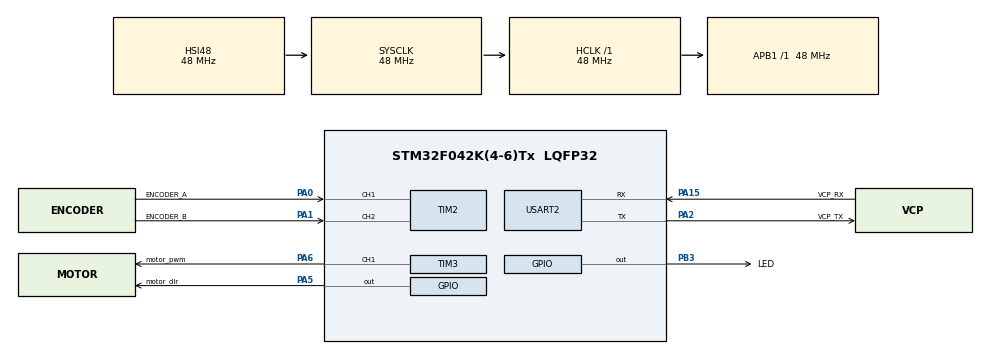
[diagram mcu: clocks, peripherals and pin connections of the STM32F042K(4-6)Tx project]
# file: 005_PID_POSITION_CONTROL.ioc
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Mcu.Family=STM32F0
Mcu.Name=STM32F042K(4-6)Tx
Mcu.Package=LQFP32
NVIC.TIM14_IRQn=true\:0\:0\:false\:false\:true\:true\:true\:true
NVIC.TIM2_IRQn=true\:0\:0\:false\:false\:true\:true\:true\:true
PA0.GPIO_Label=ENCODER_A
PA0.Signal=S_TIM2_CH1_ETR
PA1.GPIO_Label=ENCODER_B
PA1.Signal=S_TIM2_CH2
PA13.GPIO_Label=SWDIO
PA13.Mode=Serial_Wire
PA13.Signal=SYS_SWDIO
PA14.GPIO_Label=SWCLK
PA14.Mode=Serial_Wire
PA14.Signal=SYS_SWCLK
PA15.GPIO_Label=VCP_RX
PA15.Mode=Asynchronous
PA15.Signal=USART2_RX
PA2.GPIO_Label=VCP_TX
PA2.Mode=Asynchronous
PA2.Signal=USART2_TX
PA5.GPIO_Label=motor_dir
PA5.Signal=GPIO_Output
PA6.GPIO_Label=motor_pwm
PA6.Signal=S_TIM3_CH1
PB3.GPIO_Label=LED
PB3.Signal=GPIO_Output
ProjectManager.HeapSize=0x200
ProjectManager.StackSize=0x400
ProjectManager.TargetToolchain=STM32CubeIDE
RCC.AHBFreq_Value=48000000
RCC.APB1Freq_Value=48000000
RCC.APB1TimFreq_Value=48000000
RCC.HCLKFreq_Value=48000000
RCC.SYSCLKFreq_VALUE=48000000
RCC.SYSCLKSource=RCC_SYSCLKSOURCE_HSI48
SH.S_TIM2_CH1_ETR.0=TIM2_CH1,Encoder_Interface
SH.S_TIM2_CH2.0=TIM2_CH2,Encoder_Interface
SH.S_TIM3_CH1.0=TIM3_CH1,PWM Generation1 CH1
TIM14.Period=50-1
TIM14.Prescaler=4800-1
TIM3.Channel-PWM\ Generation1\ CH1=TIM_CHANNEL_1
TIM3.OCFastMode_PWM-PWM\ Generation1\ CH1=TIM_OCFAST_ENABLE
TIM3.Period=4800-1
TIM3.Prescaler=0
TIM3.Pulse-PWM\ Generation1\ CH1=2400-1
USART2.VirtualMode-Asynchronous=VM_ASYNC
VP_TIM14_VS_ClockSourceINT.Mode=Enable_Timer
board=NUCLEO-F042K6

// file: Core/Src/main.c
/* USER CODE BEGIN Header */
/**
  ******************************************************************************
  * @file           : main.c
  * @brief          : Main program body
  ******************************************************************************
  * @attention
  *
  * Copyright (c) 2023 STMicroelectronics.
  * All rights reserved.
  *
  * This software is licensed under terms that can be found in the LICENSE file
  * in the root directory of this software component.
  * If no LICENSE file comes with this software, it is provided AS-IS.
  *
  ******************************************************************************
  */
/* USER CODE END Header */
#include "main.h"

/* USER CODE BEGIN Includes */
#include "math.h"
#include "stdbool.h"

/* USER CODE END Includes */

TIM_HandleTypeDef htim2;
TIM_HandleTypeDef htim3;
TIM_HandleTypeDef htim14;

UART_HandleTypeDef huart2;

/* USER CODE BEGIN PV */
int64_t encoder_count = 0;
int64_t encoder_overflow_count = -(int64_t)UINT32_MAX;

typedef struct{
	double setpoint;
	double dt;
	double err_integral;					// used for integral portion of controller
	double prev_err;
	double Kp;
	double Ki;
	double Kd;
	double control_effort; 			// goes from -1 to 1
	double max_control_effort; 	// equals pwm counter period
	double max_integral_control_effort;
} PID;

PID pid;

/* USER CODE END PV */

void SystemClock_Config(void);
static void MX_GPIO_Init(void);
static void MX_USART2_UART_Init(void);
static void MX_TIM3_Init(void);
static void MX_TIM2_Init(void);
static void MX_TIM14_Init(void);

int main(void)
{

  /* MCU Configuration--------------------------------------------------------*/

  /* Reset of all peripherals, Initializes the Flash interface and the Systick. */
  HAL_Init();

  /* Configure the system clock */
  SystemClock_Config();

  /* Initialize all configured peripherals */
  MX_GPIO_Init();
  MX_USART2_UART_Init();
  MX_TIM3_Init();
  MX_TIM2_Init();
  MX_TIM14_Init();
  /* USER CODE BEGIN 2 */

  // get the timer interrupt frequency for future calculations
  double timer_clk_freq = (double)HAL_RCC_GetPCLK1Freq();
  double prescaler_div = (double)htim14.Init.Prescaler + 1;
  double period_div = (double)htim14.Init.Period +1;
  double pid_interrupt_freq = timer_clk_freq / prescaler_div / period_div; // Hz

  // set pid values
  pid.setpoint = 500;
  pid.err_integral = 0;
  pid.prev_err = 0;
  pid.control_effort = 0;
  pid.Kp = 4.0;
  pid.Ki = 0.5;
  pid.Kd = 0.2;
  pid.max_control_effort = (double)htim3.Init.Period-100;
  pid.max_integral_control_effort = pid.max_control_effort * 0.5;	// limit the integral control effort to 0.5 max control effort
  pid.dt = 1 / pid_interrupt_freq;

  // start timer 2 (Encoders)
  HAL_TIM_Encoder_Start(&htim2, TIM_CHANNEL_ALL);
  HAL_TIM_Base_Start_IT(&htim2);

  //start timer 3 (PWM)
  HAL_TIM_Base_Start(&htim3);
  HAL_TIM_PWM_Start(&htim3, TIM_CHANNEL_1);

  // start timer 14 (PID)
  HAL_TIM_Base_Start_IT(&htim14);
  HAL_NVIC_SetPriority(TIM14_IRQn,1,1);
  HAL_NVIC_EnableIRQ(TIM14_IRQn);

  /* USER CODE END 2 */

  /* Infinite loop */
  /* USER CODE BEGIN WHILE */
  while (1)
  {
	  pid.setpoint *= -1;
	  HAL_Delay(5000);
    /* USER CODE END WHILE */

  }
}

void SystemClock_Config(void)
{
  RCC_OscInitTypeDef RCC_OscInitStruct = {0};
  RCC_ClkInitTypeDef RCC_ClkInitStruct = {0};

  /** Initializes the RCC Oscillators according to the specified parameters
  * in the RCC_OscInitTypeDef structure.
  */
  RCC_OscInitStruct.OscillatorType = RCC_OSCILLATORTYPE_HSI48;
  RCC_OscInitStruct.HSI48State = RCC_HSI48_ON;
  RCC_OscInitStruct.PLL.PLLState = RCC_PLL_NONE;
  if (HAL_RCC_OscConfig(&RCC_OscInitStruct) != HAL_OK)
  {
    Error_Handler();
  }

  /** Initializes the CPU, AHB and APB buses clocks
  */
  RCC_ClkInitStruct.ClockType = RCC_CLOCKTYPE_HCLK|RCC_CLOCKTYPE_SYSCLK
                              |RCC_CLOCKTYPE_PCLK1;
  RCC_ClkInitStruct.SYSCLKSource = RCC_SYSCLKSOURCE_HSI48;
  RCC_ClkInitStruct.AHBCLKDivider = RCC_SYSCLK_DIV1;
  RCC_ClkInitStruct.APB1CLKDivider = RCC_HCLK_DIV1;

  if (HAL_RCC_ClockConfig(&RCC_ClkInitStruct, FLASH_LATENCY_1) != HAL_OK)
  {
    Error_Handler();
  }
}

static void MX_TIM2_Init(void)
{

  TIM_Encoder_InitTypeDef sConfig = {0};
  TIM_MasterConfigTypeDef sMasterConfig = {0};

  htim2.Instance = TIM2;
  htim2.Init.Prescaler = 0;
  htim2.Init.CounterMode = TIM_COUNTERMODE_UP;
  htim2.Init.Period = 4294967295;
  htim2.Init.ClockDivision = TIM_CLOCKDIVISION_DIV1;
  htim2.Init.AutoReloadPreload = TIM_AUTORELOAD_PRELOAD_DISABLE;
  sConfig.EncoderMode = TIM_ENCODERMODE_TI1;
  sConfig.IC1Polarity = TIM_ICPOLARITY_RISING;
  sConfig.IC1Selection = TIM_ICSELECTION_DIRECTTI;
  sConfig.IC1Prescaler = TIM_ICPSC_DIV1;
  sConfig.IC1Filter = 0;
  sConfig.IC2Polarity = TIM_ICPOLARITY_RISING;
  sConfig.IC2Selection = TIM_ICSELECTION_DIRECTTI;
  sConfig.IC2Prescaler = TIM_ICPSC_DIV1;
  sConfig.IC2Filter = 0;
  if (HAL_TIM_Encoder_Init(&htim2, &sConfig) != HAL_OK)
  {
    Error_Handler();
  }
  sMasterConfig.MasterOutputTrigger = TIM_TRGO_RESET;
  sMasterConfig.MasterSlaveMode = TIM_MASTERSLAVEMODE_DISABLE;
  if (HAL_TIMEx_MasterConfigSynchronization(&htim2, &sMasterConfig) != HAL_OK)
  {
    Error_Handler();
  }

}

static void MX_TIM3_Init(void)
{

  TIM_MasterConfigTypeDef sMasterConfig = {0};
  TIM_OC_InitTypeDef sConfigOC = {0};

  htim3.Instance = TIM3;
  htim3.Init.Prescaler = 0;
  htim3.Init.CounterMode = TIM_COUNTERMODE_UP;
  htim3.Init.Period = 4800-1;
  htim3.Init.ClockDivision = TIM_CLOCKDIVISION_DIV1;
  htim3.Init.AutoReloadPreload = TIM_AUTORELOAD_PRELOAD_DISABLE;
  if (HAL_TIM_PWM_Init(&htim3) != HAL_OK)
  {
    Error_Handler();
  }
  sMasterConfig.MasterOutputTrigger = TIM_TRGO_RESET;
  sMasterConfig.MasterSlaveMode = TIM_MASTERSLAVEMODE_DISABLE;
  if (HAL_TIMEx_MasterConfigSynchronization(&htim3, &sMasterConfig) != HAL_OK)
  {
    Error_Handler();
  }
  sConfigOC.OCMode = TIM_OCMODE_PWM1;
  sConfigOC.Pulse = 2400-1;
  sConfigOC.OCPolarity = TIM_OCPOLARITY_HIGH;
  sConfigOC.OCFastMode = TIM_OCFAST_ENABLE;
  if (HAL_TIM_PWM_ConfigChannel(&htim3, &sConfigOC, TIM_CHANNEL_1) != HAL_OK)
  {
    Error_Handler();
  }
  HAL_TIM_MspPostInit(&htim3);

}

static void MX_TIM14_Init(void)
{

  htim14.Instance = TIM14;
  htim14.Init.Prescaler = 4800-1;
  htim14.Init.CounterMode = TIM_COUNTERMODE_UP;
  htim14.Init.Period = 50-1;
  htim14.Init.ClockDivision = TIM_CLOCKDIVISION_DIV1;
  htim14.Init.AutoReloadPreload = TIM_AUTORELOAD_PRELOAD_DISABLE;
  if (HAL_TIM_Base_Init(&htim14) != HAL_OK)
  {
    Error_Handler();
  }

}

static void MX_USART2_UART_Init(void)
{

  huart2.Instance = USART2;
  huart2.Init.BaudRate = 38400;
  huart2.Init.WordLength = UART_WORDLENGTH_8B;
  huart2.Init.StopBits = UART_STOPBITS_1;
  huart2.Init.Parity = UART_PARITY_NONE;
  huart2.Init.Mode = UART_MODE_TX_RX;
  huart2.Init.HwFlowCtl = UART_HWCONTROL_NONE;
  huart2.Init.OverSampling = UART_OVERSAMPLING_16;
  huart2.Init.OneBitSampling = UART_ONE_BIT_SAMPLE_DISABLE;
  huart2.AdvancedInit.AdvFeatureInit = UART_ADVFEATURE_NO_INIT;
  if (HAL_UART_Init(&huart2) != HAL_OK)
  {
    Error_Handler();
  }

}

static void MX_GPIO_Init(void)
{
  GPIO_InitTypeDef GPIO_InitStruct = {0};

  /* GPIO Ports Clock Enable */
  __HAL_RCC_GPIOA_CLK_ENABLE();
  __HAL_RCC_GPIOB_CLK_ENABLE();

  /*Configure GPIO pin Output Level */
  HAL_GPIO_WritePin(motor_dir_GPIO_Port, motor_dir_Pin, GPIO_PIN_RESET);

  /*Configure GPIO pin Output Level */
  HAL_GPIO_WritePin(LED_GPIO_Port, LED_Pin, GPIO_PIN_RESET);

  /*Configure GPIO pin : motor_dir_Pin */
  GPIO_InitStruct.Pin = motor_dir_Pin;
  GPIO_InitStruct.Mode = GPIO_MODE_OUTPUT_PP;
  GPIO_InitStruct.Pull = GPIO_NOPULL;
  GPIO_InitStruct.Speed = GPIO_SPEED_FREQ_LOW;
  HAL_GPIO_Init(motor_dir_GPIO_Port, &GPIO_InitStruct);

  /*Configure GPIO pin : LED_Pin */
  GPIO_InitStruct.Pin = LED_Pin;
  GPIO_InitStruct.Mode = GPIO_MODE_OUTPUT_PP;
  GPIO_InitStruct.Pull = GPIO_NOPULL;
  GPIO_InitStruct.Speed = GPIO_SPEED_FREQ_LOW;
  HAL_GPIO_Init(LED_GPIO_Port, &GPIO_InitStruct);

}

/* USER CODE BEGIN 4 */

void HAL_TIM_PeriodElapsedCallback (TIM_HandleTypeDef * htim)
{
	if(htim == &htim2)
	{
		// overflow protection
		bool counter_clockwise_rotation = (bool)(htim->Instance->CR1 & TIM_CR1_DIR);
		if(counter_clockwise_rotation)
		{
			encoder_overflow_count -= (int64_t)UINT32_MAX;
		}
		else
		{
			encoder_overflow_count += (int64_t)UINT32_MAX;
		}
	}

	else if(htim == &htim14)
	{
//		HAL_GPIO_TogglePin(LED_GPIO_Port, LED_Pin);

		// get current position
		encoder_count = (int64_t)__HAL_TIM_GET_COUNTER(&htim2) + encoder_overflow_count;

		// PID controller
		double err = pid.setpoint - encoder_count;
		double err_derivative = (err - pid.prev_err) / pid.dt;
		pid.err_integral += err * pid.dt;

		// err integral anti windup
		if(fabs(pid.Ki * pid.err_integral) > pid.max_integral_control_effort)
		{
			if(signbit(pid.err_integral))
			{
				pid.err_integral = -pid.max_integral_control_effort/ pid.Ki;

			}
			else
			{
				pid.err_integral = pid.max_integral_control_effort / pid.Ki;
			}
		}

		// calculate PID control effort component

		pid.control_effort = pid.Kp * err + pid.Ki * pid.err_integral + pid.Kd * err_derivative;

		if(fabs(pid.control_effort) > pid.max_control_effort)
		{
			if(signbit(pid.control_effort))
			{
				pid.control_effort = -pid.max_control_effort;
			}
			else
			{
				pid.control_effort = pid.max_control_effort;
			}
		}

		// update PWM values
		uint32_t control_effort = (uint32_t)(floor(fabs(pid.control_effort)));
		if(pid.control_effort < 0)
		{
			HAL_GPIO_WritePin(motor_dir_GPIO_Port, motor_dir_Pin, GPIO_PIN_SET);
			HAL_GPIO_WritePin(LED_GPIO_Port, LED_Pin, GPIO_PIN_SET);
			TIM3->CCR1 = (uint32_t)pid.max_control_effort - control_effort;
		}
		else
		{
			HAL_GPIO_WritePin(motor_dir_GPIO_Port, motor_dir_Pin, GPIO_PIN_RESET);
			HAL_GPIO_WritePin(LED_GPIO_Port, LED_Pin, GPIO_PIN_RESET);
			TIM3->CCR1 = control_effort;
		}
//		HAL_GPIO_WritePin(motor_dir_GPIO_Port, motor_dir_Pin, GPIO_PIN_RESET);
//		uint32_t duty_cycle = (uint32_t)(2000+1000*sin((double)HAL_GetTick()/1000));

	}
}

/* USER CODE END 4 */

void Error_Handler(void)
{
  __disable_irq();
  while (1)
  {
  }
}
